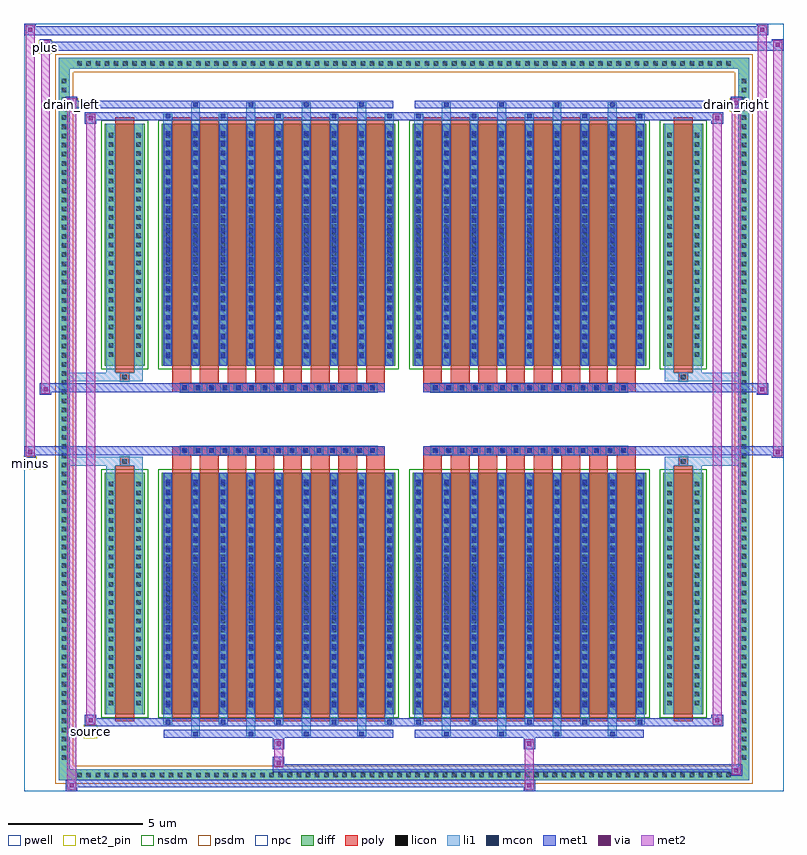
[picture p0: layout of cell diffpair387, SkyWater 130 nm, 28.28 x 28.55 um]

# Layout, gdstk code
import gdstk
lib = gdstk.Library(unit=1e-6, precision=5e-09)
def R(c, l, rs):  # rectangles x0, y0, x1, y1
    for r in rs: c.add(gdstk.rectangle(r[:2], r[2:], *l))
def A(c, l, x, y, w, h, nx, ny, dx, dy):  # array of equal rectangles
    R(c, l, [(x+i*dx, y+j*dy, x+i*dx+w, y+j*dy+h) for i in range(nx) for j in range(ny)])
def P(c, l, *ps):  # polygons
    for p in ps: c.add(gdstk.Polygon(p, *l))
pwell = (64, 44)
diff = (65, 20)
poly = (66, 20)
licon = (66, 44)
li1 = (67, 20)
mcon = (67, 44)
met1 = (68, 20)
via = (68, 44)
met2_pin = (69, 16)
met2 = (69, 20)
nsdm = (93, 44)
psdm = (94, 20)
npc = (95, 20)

diffpair387 = lib.new_cell('diffpair387')
R(diffpair387, pwell, [(-14.12,-13.84,14.12,14.71), (-11.44,-12.03,-0.01,-0.805), (0.01,-12.03,11.44,-0.805), (-11.44,0.805,-0.01,12.03), (0.01,0.805,11.44,12.03)])
A(diffpair387, diff, -12.275, -13.44, 0.41, 0.41, 72, 2, 0.34, 26.47)
A(diffpair387, diff, -12.85, -12.785, 0.41, 0.41, 1, 75, 0, 0.34)
A(diffpair387, diff, 12.44, -12.785, 0.41, 0.41, 1, 75, 0, 0.34)
R(diffpair387, diff, [(-12.275,-13.44,12.275,-13.03), (-12.85,-12.785,-12.44,12.785), (12.44,-12.785,12.85,12.785), (-11.13,-10.985,-9.65,-1.985), (-9.01,-10.985,-0.32,-1.985), (0.32,-10.985,9.01,-1.985), (9.65,-10.985,11.13,-1.985), (-11.13,1.985,-9.65,10.985), (-9.01,1.985,-0.32,10.985), (0.32,1.985,9.01,10.985), (9.65,1.985,11.13,10.985), (-12.275,13.03,12.275,13.44)])
P(diffpair387, diff, [(12.85,13.44),(-12.85,13.44),(-12.85,-13.03),(-12.44,-13.03),(-12.44,13.03),(12.44,13.03),(12.44,-13.03),(-12.44,-13.03),(-12.85,-13.03),(-12.85,-13.44),(12.85,-13.44)])
A(diffpair387, poly, -8.62, -11.235, 0.7, 9.5, 8, 2, 1.03, 12.97)
A(diffpair387, poly, 0.71, -11.235, 0.7, 9.5, 8, 2, 1.03, 12.97)
A(diffpair387, poly, -8.62, -1.735, 0.7, 0.4, 8, 2, 1.03, 3.07)
A(diffpair387, poly, 0.71, -1.735, 0.7, 0.4, 8, 2, 1.03, 3.07)
A(diffpair387, poly, -8.33, -1.335, 0.33, 0.33, 15, 2, 0.5, 2.34)
A(diffpair387, poly, 1, -1.335, 0.33, 0.33, 15, 2, 0.5, 2.34)
R(diffpair387, poly, [(-10.74,-11.235,-10.04,-1.735), (10.04,-11.235,10.74,-1.735), (-10.555,-1.735,-10.225,-1.405), (-10.555,-1.735,-10.225,-1.405), (10.225,-1.735,10.555,-1.405), (10.225,-1.735,10.555,-1.405), (-8.62,-1.335,-0.71,-1.005), (0.71,-1.335,8.62,-1.005), (-8.62,1.005,-0.71,1.335), (0.71,1.005,8.62,1.335), (-10.555,1.405,-10.225,1.735), (-10.555,1.405,-10.225,1.735), (10.225,1.405,10.555,1.735), (10.225,1.405,10.555,1.735), (-10.74,1.735,-10.04,11.235), (10.04,1.735,10.74,11.235)])
A(diffpair387, licon, -12.155, -13.32, 0.17, 0.17, 72, 2, 0.34, 26.47)
A(diffpair387, licon, -12.73, -12.665, 0.17, 0.17, 1, 75, 0, 0.34)
A(diffpair387, licon, 12.56, -12.665, 0.17, 0.17, 1, 75, 0, 0.34)
A(diffpair387, licon, -10.99, -10.65, 0.17, 0.17, 1, 25, 0, 0.34)
A(diffpair387, licon, -9.96, -10.65, 0.17, 0.17, 1, 25, 0, 0.34)
A(diffpair387, licon, -8.87, -10.65, 0.17, 0.17, 9, 25, 1.03, 0.34)
A(diffpair387, licon, 0.46, -10.65, 0.17, 0.17, 9, 25, 1.03, 0.34)
A(diffpair387, licon, 9.79, -10.65, 0.17, 0.17, 1, 25, 0, 0.34)
A(diffpair387, licon, 10.82, -10.65, 0.17, 0.17, 1, 25, 0, 0.34)
A(diffpair387, licon, -8.25, -1.255, 0.17, 0.17, 15, 2, 0.5, 2.34)
A(diffpair387, licon, 1.08, -1.255, 0.17, 0.17, 15, 2, 0.5, 2.34)
A(diffpair387, licon, -10.99, 2.32, 0.17, 0.17, 1, 25, 0, 0.34)
A(diffpair387, licon, -9.96, 2.32, 0.17, 0.17, 1, 25, 0, 0.34)
A(diffpair387, licon, -8.87, 2.32, 0.17, 0.17, 9, 25, 1.03, 0.34)
A(diffpair387, licon, 0.46, 2.32, 0.17, 0.17, 9, 25, 1.03, 0.34)
A(diffpair387, licon, 9.79, 2.32, 0.17, 0.17, 1, 25, 0, 0.34)
A(diffpair387, licon, 10.82, 2.32, 0.17, 0.17, 1, 25, 0, 0.34)
R(diffpair387, licon, [(-10.475,-1.655,-10.305,-1.485), (10.305,-1.655,10.475,-1.485), (-10.475,1.485,-10.305,1.655), (10.305,1.485,10.475,1.655)])
A(diffpair387, li1, -12.235, -13.4, 0.33, 0.33, 72, 2, 0.34, 26.47)
A(diffpair387, li1, -12.81, -12.745, 0.33, 0.33, 1, 75, 0, 0.34)
A(diffpair387, li1, 12.48, -12.745, 0.33, 0.33, 1, 75, 0, 0.34)
A(diffpair387, li1, -7.92, -11.79, 0.33, 0.805, 4, 2, 2.06, 22.775)
A(diffpair387, li1, -7.84, -11.79, 0.17, 0.17, 4, 2, 2.06, 23.41)
A(diffpair387, li1, 1.41, -11.79, 0.33, 0.805, 4, 2, 2.06, 22.775)
A(diffpair387, li1, 1.49, -11.79, 0.17, 0.17, 4, 2, 2.06, 23.41)
A(diffpair387, li1, -8.95, -11.36, 0.33, 0.375, 5, 2, 2.06, 22.345)
A(diffpair387, li1, -8.87, -11.36, 0.17, 0.17, 5, 2, 2.06, 22.55)
A(diffpair387, li1, 0.38, -11.36, 0.33, 0.375, 5, 2, 2.06, 22.345)
A(diffpair387, li1, 0.46, -11.36, 0.17, 0.17, 5, 2, 2.06, 22.55)
A(diffpair387, li1, -8.95, -10.985, 0.33, 9, 9, 2, 1.03, 12.97)
A(diffpair387, li1, 0.38, -10.985, 0.33, 9, 9, 2, 1.03, 12.97)
A(diffpair387, li1, -11.07, -10.73, 0.33, 0.33, 1, 25, 0, 0.34)
A(diffpair387, li1, -10.04, -10.73, 0.33, 0.33, 1, 25, 0, 0.34)
A(diffpair387, li1, -8.95, -10.73, 0.33, 0.33, 9, 25, 1.03, 0.34)
A(diffpair387, li1, 0.38, -10.73, 0.33, 0.33, 9, 25, 1.03, 0.34)
A(diffpair387, li1, 9.71, -10.73, 0.33, 0.33, 1, 25, 0, 0.34)
A(diffpair387, li1, 10.74, -10.73, 0.33, 0.33, 1, 25, 0, 0.34)
A(diffpair387, li1, -8.87, -10.71, 0.17, 0.17, 9, 24, 1.03, 0.36)
A(diffpair387, li1, -8.87, -10.71, 0.17, 8.45, 9, 2, 1.03, 12.97)
A(diffpair387, li1, 0.46, -10.71, 0.17, 0.17, 9, 24, 1.03, 0.36)
A(diffpair387, li1, 0.46, -10.71, 0.17, 8.45, 9, 2, 1.03, 12.97)
A(diffpair387, li1, -8.33, -1.335, 0.33, 0.33, 15, 2, 0.5, 2.34)
A(diffpair387, li1, 1, -1.335, 0.33, 0.33, 15, 2, 0.5, 2.34)
A(diffpair387, li1, -11.07, 2.24, 0.33, 0.33, 1, 25, 0, 0.34)
A(diffpair387, li1, -10.04, 2.24, 0.33, 0.33, 1, 25, 0, 0.34)
A(diffpair387, li1, -8.95, 2.24, 0.33, 0.33, 9, 25, 1.03, 0.34)
A(diffpair387, li1, 0.38, 2.24, 0.33, 0.33, 9, 25, 1.03, 0.34)
A(diffpair387, li1, 9.71, 2.24, 0.33, 0.33, 1, 25, 0, 0.34)
A(diffpair387, li1, 10.74, 2.24, 0.33, 0.33, 1, 25, 0, 0.34)
A(diffpair387, li1, -8.87, 2.26, 0.17, 0.17, 9, 24, 1.03, 0.36)
A(diffpair387, li1, 0.46, 2.26, 0.17, 0.17, 9, 24, 1.03, 0.36)
R(diffpair387, li1, [(-12.85,-13.44,-12.44,-13.03), (-12.85,-13.44,-12.44,-13.03), (-12.44,-13.44,12.44,-13.03), (12.44,-13.44,12.85,-13.03), (12.44,-13.44,12.85,-13.03), (-12.85,-13.03,-12.44,13.03), (12.44,-13.03,12.85,13.03), (-11.07,-10.985,-10.74,-1.985), (-10.04,-10.985,-9.71,-1.985), (9.71,-10.985,10.04,-1.985), (10.74,-10.985,11.07,-1.985), (-11.07,-1.985,-10.74,-1.405), (-10.04,-1.985,-9.71,-1.405), (9.71,-1.985,10.04,-1.405), (10.74,-1.985,11.07,-1.405), (-12.85,-1.735,-10.555,-1.405), (-11.07,-1.735,-10.555,-1.405), (-10.555,-1.735,-10.225,-1.405), (-10.225,-1.735,-9.71,-1.405), (9.71,-1.735,10.225,-1.405), (10.225,-1.735,10.555,-1.405), (10.225,-1.735,12.85,-1.405), (10.555,-1.735,11.07,-1.405), (-12.85,1.405,-10.555,1.735), (-11.07,1.405,-10.555,1.735), (-11.07,1.405,-10.74,1.985), (-10.555,1.405,-10.225,1.735), (-10.225,1.405,-9.71,1.735), (-10.04,1.405,-9.71,1.985), (9.71,1.405,10.225,1.735), (9.71,1.405,10.04,1.985), (10.225,1.405,10.555,1.735), (10.225,1.405,12.85,1.735), (10.555,1.405,11.07,1.735), (10.74,1.405,11.07,1.985), (-11.07,1.985,-10.74,10.985), (-10.04,1.985,-9.71,10.985), (9.71,1.985,10.04,10.985), (10.74,1.985,11.07,10.985), (-12.85,13.03,-12.44,13.44), (-12.85,13.03,-12.44,13.44), (-12.44,13.03,12.44,13.44), (12.44,13.03,12.85,13.44), (12.44,13.03,12.85,13.44)])
A(diffpair387, mcon, -7.84, -11.79, 0.17, 0.17, 4, 2, 2.06, 23.41)
A(diffpair387, mcon, 1.49, -11.79, 0.17, 0.17, 4, 2, 2.06, 23.41)
A(diffpair387, mcon, -8.87, -11.36, 0.17, 0.17, 5, 2, 2.06, 22.55)
A(diffpair387, mcon, 0.46, -11.36, 0.17, 0.17, 5, 2, 2.06, 22.55)
A(diffpair387, mcon, -8.87, -10.71, 0.17, 0.17, 9, 24, 1.03, 0.36)
A(diffpair387, mcon, 0.46, -10.71, 0.17, 0.17, 9, 24, 1.03, 0.36)
A(diffpair387, mcon, -8.25, -1.255, 0.17, 0.17, 15, 2, 0.5, 2.34)
A(diffpair387, mcon, 1.08, -1.255, 0.17, 0.17, 15, 2, 0.5, 2.34)
A(diffpair387, mcon, -8.87, 2.26, 0.17, 0.17, 9, 24, 1.03, 0.36)
A(diffpair387, mcon, 0.46, 2.26, 0.17, 0.17, 9, 24, 1.03, 0.36)
A(diffpair387, met1, -7.9, -11.85, 0.29, 0.29, 4, 2, 2.06, 23.41)
A(diffpair387, met1, 1.43, -11.85, 0.29, 0.29, 4, 2, 2.06, 23.41)
A(diffpair387, met1, -8.93, -11.42, 0.29, 0.29, 5, 2, 2.06, 22.55)
A(diffpair387, met1, 0.4, -11.42, 0.29, 0.29, 5, 2, 2.06, 22.55)
A(diffpair387, met1, -8.93, -10.985, 0.29, 9, 9, 2, 1.03, 12.97)
A(diffpair387, met1, 0.4, -10.985, 0.29, 9, 9, 2, 1.03, 12.97)
A(diffpair387, met1, -8.93, -10.77, 0.29, 0.29, 9, 24, 1.03, 0.36)
A(diffpair387, met1, 0.4, -10.77, 0.29, 0.29, 9, 24, 1.03, 0.36)
A(diffpair387, met1, -8.31, -1.315, 0.29, 0.29, 15, 2, 0.5, 2.34)
A(diffpair387, met1, 1.02, -1.315, 0.29, 0.29, 15, 2, 0.5, 2.34)
A(diffpair387, met1, -8.93, 2.2, 0.29, 0.29, 9, 24, 1.03, 0.36)
A(diffpair387, met1, 0.4, 2.2, 0.29, 0.29, 9, 24, 1.03, 0.36)
R(diffpair387, met1, [(-12.58,-13.84,-12.15,-13.41), (4.45,-13.84,4.88,-13.41), (-12.58,-13.7,4.88,-13.41), (12.15,-13.27,12.58,-12.84), (-4.88,-13.13,12.58,-12.84), (-4.88,-12.99,-4.45,-12.56), (-4.88,-12.28,-4.45,-11.85), (4.45,-12.28,4.88,-11.85), (-8.93,-11.85,-0.4,-11.56), (0.4,-11.85,8.93,-11.56), (-11.87,-11.42,-11.44,-10.99), (-11.87,-11.42,-8.93,-11.13), (-8.93,-11.42,-0.4,-11.13), (-0.4,-11.42,0.4,-11.13), (0.4,-11.42,8.93,-11.13), (8.93,-11.42,11.87,-11.13), (11.44,-11.42,11.87,-10.99), (-14.12,-1.435,-13.69,-1.005), (13.69,-1.435,14.12,-1.005), (-14.12,-1.335,-0.71,-1.005), (-8.62,-1.335,-0.71,-1.005), (0.71,-1.335,8.62,-1.005), (0.71,-1.335,14.12,-1.005), (-13.55,0.905,-13.12,1.335), (13.12,0.905,13.55,1.335), (-13.55,1.005,-8.62,1.335), (-8.62,1.005,-0.71,1.335), (0.71,1.005,8.62,1.335), (8.62,1.005,13.55,1.335), (-11.87,10.99,-11.44,11.42), (11.44,10.99,11.87,11.42), (-11.87,11.13,-8.93,11.42), (-8.93,11.13,-0.4,11.42), (-0.4,11.13,0.4,11.42), (0.4,11.13,8.93,11.42), (8.93,11.13,11.87,11.42), (-12.58,11.56,-12.15,11.99), (-12.58,11.56,-8.93,11.85), (-8.93,11.56,-0.4,11.85), (0.4,11.56,8.93,11.85), (8.93,11.56,12.58,11.85), (12.15,11.56,12.58,11.99), (-13.55,13.71,-13.12,14.14), (-13.55,13.71,-11.44,14.04), (-11.44,13.71,11.44,14.04), (11.44,13.71,14.12,14.04), (13.69,13.71,14.12,14.14), (-14.12,14.28,-13.69,14.71), (-14.12,14.28,-11.44,14.61), (-11.44,14.28,11.44,14.61), (11.44,14.28,13.55,14.61), (13.12,14.28,13.55,14.71)])
R(diffpair387, via, [(-12.44,-13.7,-12.29,-13.55), (4.59,-13.7,4.74,-13.55), (12.29,-13.13,12.44,-12.98), (-4.74,-12.85,-4.59,-12.7), (-4.74,-12.14,-4.59,-11.99), (4.59,-12.14,4.74,-11.99), (-11.73,-11.28,-11.58,-11.13), (11.58,-11.28,11.73,-11.13), (-13.98,-1.295,-13.83,-1.145), (13.83,-1.295,13.98,-1.145), (-13.41,1.045,-13.26,1.195), (13.26,1.045,13.41,1.195), (-11.73,11.13,-11.58,11.28), (11.58,11.13,11.73,11.28), (-12.44,11.7,-12.29,11.85), (12.29,11.7,12.44,11.85), (-13.41,13.85,-13.26,14), (13.83,13.85,13.98,14), (-13.98,14.42,-13.83,14.57), (13.26,14.42,13.41,14.57)])
R(diffpair387, met2_pin, [(-11.905,-11.87,-11.405,-11.37), (-14.155,-1.885,-13.655,-1.385), (-12.615,11.44,-12.115,11.94), (12.115,11.44,12.615,11.94), (-13.585,13.59,-13.085,14.09)])
R(diffpair387, met2, [(-12.53,-13.79,-12.2,-13.46), (-12.53,-13.79,-12.2,11.94), (4.5,-13.79,4.83,-13.46), (4.5,-13.46,4.83,-12.23), (12.2,-13.22,12.53,-12.89), (12.2,-13.22,12.53,11.94), (-4.83,-12.94,-4.5,-12.61), (-4.83,-12.61,-4.5,-12.23), (-4.83,-12.23,-4.5,-11.9), (4.5,-12.23,4.83,-11.9), (-11.82,-11.37,-11.49,-11.04), (-11.82,-11.37,-11.49,11.37), (11.49,-11.37,11.82,-11.04), (11.49,-11.37,11.82,11.37), (-14.07,-1.385,-13.74,-1.055), (-14.07,-1.385,-13.74,14.66), (13.74,-1.385,14.07,-1.055), (13.74,-1.385,14.07,14.09), (-13.5,0.955,-13.17,1.285), (-13.5,0.955,-13.17,14.09), (13.17,0.955,13.5,1.285), (13.17,0.955,13.5,14.66), (-11.82,11.04,-11.49,11.37), (11.49,11.04,11.82,11.37), (-12.53,11.61,-12.2,11.94), (12.2,11.61,12.53,11.94), (-13.5,13.76,-13.17,14.09), (13.74,13.76,14.07,14.09), (-14.07,14.33,-13.74,14.66), (13.17,14.33,13.5,14.66)])
P(diffpair387, met2, [(14.07,-1.385),(14.07,-1.385),(14.07,-1.055),(14.07,-1.055)],
  [(14.07,13.76),(14.07,13.76),(14.07,14.09),(14.07,14.09)],
  [(-13.74,-1.385),(-13.74,-1.385),(-13.74,-1.055),(-13.74,-1.055)],
  [(-13.74,14.33),(-13.74,14.33),(-13.74,14.66),(-13.74,14.66)],
  [(13.5,0.955),(13.5,0.955),(13.5,1.285),(13.5,1.285)],
  [(13.5,14.33),(13.5,14.33),(13.5,14.66),(13.5,14.66)],
  [(-13.17,0.955),(-13.17,0.955),(-13.17,1.285),(-13.17,1.285)],
  [(-13.17,13.76),(-13.17,13.76),(-13.17,14.09),(-13.17,14.09)],
  [(-12.2,-13.79),(-12.2,-13.79),(-12.2,-13.46),(-12.2,-13.46)],
  [(-12.2,11.61),(-12.2,11.61),(-12.2,11.94),(-12.2,11.94)],
  [(12.53,-13.22),(12.53,-13.22),(12.53,-12.89),(12.53,-12.89)],
  [(12.53,11.61),(12.53,11.61),(12.53,11.94),(12.53,11.94)],
  [(-11.49,-11.37),(-11.49,-11.37),(-11.49,-11.04),(-11.49,-11.04)],
  [(-11.49,11.04),(-11.49,11.04),(-11.49,11.37),(-11.49,11.37)],
  [(11.82,-11.37),(11.82,-11.37),(11.82,-11.04),(11.82,-11.04)],
  [(11.82,11.04),(11.82,11.04),(11.82,11.37),(11.82,11.37)])
R(diffpair387, nsdm, [(-11.26,-11.115,-9.52,-1.855), (-9.14,-11.115,-0.19,-1.855), (0.19,-11.115,9.14,-1.855), (9.52,-11.115,11.26,-1.855), (-11.26,1.855,-9.52,11.115), (-9.14,1.855,-0.19,11.115), (0.19,1.855,9.14,11.115), (9.52,1.855,11.26,11.115)])
P(diffpair387, psdm, [(12.98,13.57),(-12.98,13.57),(-12.98,-12.9),(-12.31,-12.9),(-12.31,12.9),(12.31,12.9),(12.31,-12.9),(-12.31,-12.9),(-12.98,-12.9),(-12.98,-13.57),(12.98,-13.57)])
A(diffpair387, npc, -8.35, -1.355, 0.37, 0.37, 15, 2, 0.5, 2.34)
A(diffpair387, npc, 0.98, -1.355, 0.37, 0.37, 15, 2, 0.5, 2.34)
R(diffpair387, npc, [(-10.575,-1.755,-10.205,-1.385), (10.205,-1.755,10.575,-1.385), (-8.35,-1.355,-7.48,-0.985), (-8.35,-1.355,-7.48,-0.985), (-7.85,-1.355,-6.98,-0.985), (-7.85,-1.355,-6.98,-0.985), (-7.35,-1.355,-6.48,-0.985), (-7.35,-1.355,-6.48,-0.985), (-6.85,-1.355,-5.98,-0.985), (-6.85,-1.355,-5.98,-0.985), (-6.35,-1.355,-5.48,-0.985), (-6.35,-1.355,-5.48,-0.985), (-5.85,-1.355,-4.98,-0.985), (-5.85,-1.355,-4.98,-0.985), (-5.35,-1.355,-4.48,-0.985), (-5.35,-1.355,-4.48,-0.985), (-4.85,-1.355,-3.98,-0.985), (-4.85,-1.355,-3.98,-0.985), (-4.35,-1.355,-3.48,-0.985), (-4.35,-1.355,-3.48,-0.985), (-3.85,-1.355,-2.98,-0.985), (-3.85,-1.355,-2.98,-0.985), (-3.35,-1.355,-2.48,-0.985), (-3.35,-1.355,-2.48,-0.985), (-2.85,-1.355,-1.98,-0.985), (-2.85,-1.355,-1.98,-0.985), (-2.35,-1.355,-1.48,-0.985), (-2.35,-1.355,-1.48,-0.985), (-1.85,-1.355,-0.98,-0.985), (-1.85,-1.355,-0.98,-0.985), (0.98,-1.355,1.85,-0.985), (0.98,-1.355,1.85,-0.985), (1.48,-1.355,2.35,-0.985), (1.48,-1.355,2.35,-0.985), (1.98,-1.355,2.85,-0.985), (1.98,-1.355,2.85,-0.985), (2.48,-1.355,3.35,-0.985), (2.48,-1.355,3.35,-0.985), (2.98,-1.355,3.85,-0.985), (2.98,-1.355,3.85,-0.985), (3.48,-1.355,4.35,-0.985), (3.48,-1.355,4.35,-0.985), (3.98,-1.355,4.85,-0.985), (3.98,-1.355,4.85,-0.985), (4.48,-1.355,5.35,-0.985), (4.48,-1.355,5.35,-0.985), (4.98,-1.355,5.85,-0.985), (4.98,-1.355,5.85,-0.985), (5.48,-1.355,6.35,-0.985), (5.48,-1.355,6.35,-0.985), (5.98,-1.355,6.85,-0.985), (5.98,-1.355,6.85,-0.985), (6.48,-1.355,7.35,-0.985), (6.48,-1.355,7.35,-0.985), (6.98,-1.355,7.85,-0.985), (6.98,-1.355,7.85,-0.985), (7.48,-1.355,8.35,-0.985), (7.48,-1.355,8.35,-0.985), (-8.35,0.985,-7.48,1.355), (-8.35,0.985,-7.48,1.355), (-7.85,0.985,-6.98,1.355), (-7.85,0.985,-6.98,1.355), (-7.35,0.985,-6.48,1.355), (-7.35,0.985,-6.48,1.355), (-6.85,0.985,-5.98,1.355), (-6.85,0.985,-5.98,1.355), (-6.35,0.985,-5.48,1.355), (-6.35,0.985,-5.48,1.355), (-5.85,0.985,-4.98,1.355), (-5.85,0.985,-4.98,1.355), (-5.35,0.985,-4.48,1.355), (-5.35,0.985,-4.48,1.355), (-4.85,0.985,-3.98,1.355), (-4.85,0.985,-3.98,1.355), (-4.35,0.985,-3.48,1.355), (-4.35,0.985,-3.48,1.355), (-3.85,0.985,-2.98,1.355), (-3.85,0.985,-2.98,1.355), (-3.35,0.985,-2.48,1.355), (-3.35,0.985,-2.48,1.355), (-2.85,0.985,-1.98,1.355), (-2.85,0.985,-1.98,1.355), (-2.35,0.985,-1.48,1.355), (-2.35,0.985,-1.48,1.355), (-1.85,0.985,-0.98,1.355), (-1.85,0.985,-0.98,1.355), (0.98,0.985,1.85,1.355), (0.98,0.985,1.85,1.355), (1.48,0.985,2.35,1.355), (1.48,0.985,2.35,1.355), (1.98,0.985,2.85,1.355), (1.98,0.985,2.85,1.355), (2.48,0.985,3.35,1.355), (2.48,0.985,3.35,1.355), (2.98,0.985,3.85,1.355), (2.98,0.985,3.85,1.355), (3.48,0.985,4.35,1.355), (3.48,0.985,4.35,1.355), (3.98,0.985,4.85,1.355), (3.98,0.985,4.85,1.355), (4.48,0.985,5.35,1.355), (4.48,0.985,5.35,1.355), (4.98,0.985,5.85,1.355), (4.98,0.985,5.85,1.355), (5.48,0.985,6.35,1.355), (5.48,0.985,6.35,1.355), (5.98,0.985,6.85,1.355), (5.98,0.985,6.85,1.355), (6.48,0.985,7.35,1.355), (6.48,0.985,7.35,1.355), (6.98,0.985,7.85,1.355), (6.98,0.985,7.85,1.355), (7.48,0.985,8.35,1.355), (7.48,0.985,8.35,1.355), (-10.575,1.385,-10.205,1.755), (10.205,1.385,10.575,1.755)])
diffpair387.add(gdstk.Label('minus', (-13.905,-1.635), layer=69, texttype=5))
diffpair387.add(gdstk.Label('drain_right', (12.365,11.69), layer=69, texttype=5))
diffpair387.add(gdstk.Label('drain_left', (-12.365,11.69), layer=69, texttype=5))
diffpair387.add(gdstk.Label('source', (-11.655,-11.62), layer=69, texttype=5))
diffpair387.add(gdstk.Label('plus', (-13.335,13.84), layer=69, texttype=5))

lib.write_gds('diffpair387.gds')
